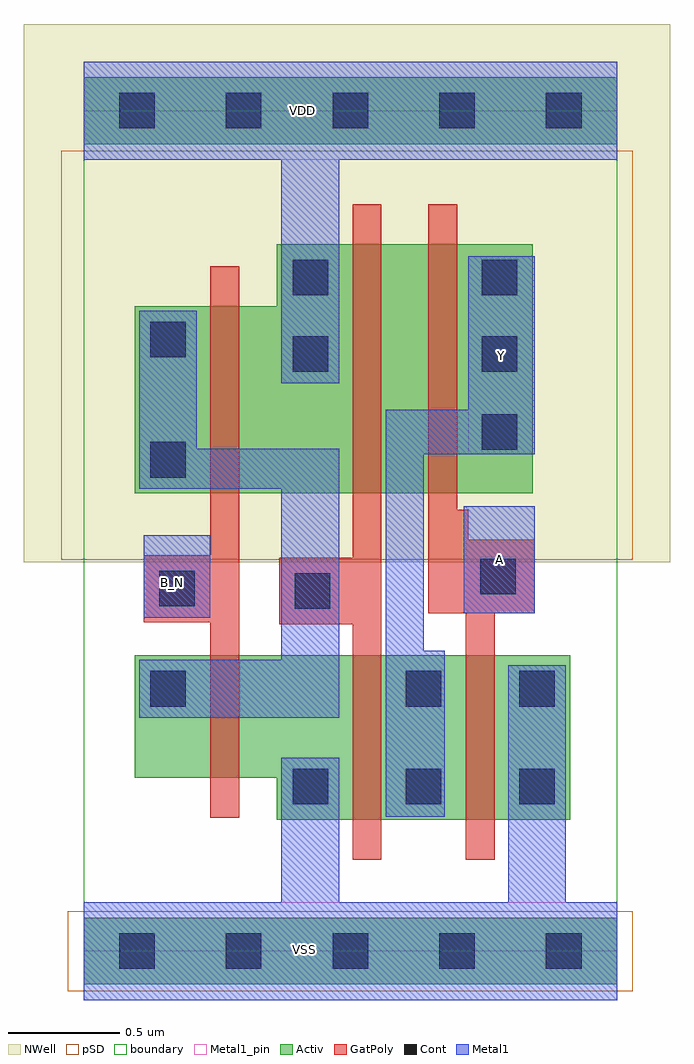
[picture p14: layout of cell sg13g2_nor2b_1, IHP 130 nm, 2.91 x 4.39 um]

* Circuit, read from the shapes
.subckt sg13g2_nor2b_1 A B_N VDD VSS Y
XM1 VSS B_N n1 VSS sg13_lv_nmos w=0.55u l=0.13u
XM2 Y n1 VSS VSS sg13_lv_nmos w=0.74u l=0.13u
XM3 VSS A Y VSS sg13_lv_nmos w=0.74u l=0.13u
XM4 VDD B_N n1 VDD sg13_lv_pmos w=0.84u l=0.13u
XM5 n2 n1 VDD VDD sg13_lv_pmos w=1.12u l=0.13u
XM6 Y A n2 VDD sg13_lv_pmos w=1.12u l=0.13u
.ends

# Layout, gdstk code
import gdstk
lib = gdstk.Library(unit=1e-6, precision=1e-09)
def R(c, l, rs):  # rectangles x0, y0, x1, y1
    for r in rs: c.add(gdstk.rectangle(r[:2], r[2:], *l))
def A(c, l, x, y, w, h, nx, ny, dx, dy):  # array of equal rectangles
    R(c, l, [(x+i*dx, y+j*dy, x+i*dx+w, y+j*dy+h) for i in range(nx) for j in range(ny)])
def P(c, l, *ps):  # polygons
    for p in ps: c.add(gdstk.Polygon(p, *l))
Activ = (1, 0)
GatPoly = (5, 0)
Cont = (6, 0)
Metal1 = (8, 0)
Metal1_pin = (8, 2)
pSD = (14, 0)
NWell = (31, 0)
boundary = (189, 4)

sg13g2_nor2b_1 = lib.new_cell('sg13g2_nor2b_1')
R(sg13g2_nor2b_1, Activ, [(0,-0.15,2.4,0.15), (0,3.63,2.4,3.93)])
P(sg13g2_nor2b_1, Activ, [(2.19,1.33),(0.23,1.33),(0.23,0.78),(0.87,0.78),(0.87,0.59),(2.19,0.59)],
  [(2.02,3.18),(0.87,3.18),(0.87,2.9),(0.23,2.9),(0.23,2.06),(2.02,2.06)])
P(sg13g2_nor2b_1, GatPoly, [(0.7,3.08),(0.57,3.08),(0.57,1.78),(0.27,1.78),(0.27,1.48),(0.57,1.48),(0.57,0.6),(0.7,0.6)],
  [(1.34,3.36),(1.21,3.36),(1.21,1.77),(0.88,1.77),(0.88,1.47),(1.21,1.47),(1.21,0.41),(1.34,0.41)],
  [(2.03,1.85),(1.73,1.85),(1.73,1.985),(1.68,1.985),(1.68,3.36),(1.55,3.36),(1.55,1.52),(1.72,1.52),(1.72,0.41),(1.85,0.41),(1.85,1.52),(2.03,1.52)])
A(sg13g2_nor2b_1, Cont, 0.16, -0.08, 0.16, 0.16, 5, 2, 0.48, 3.78)
A(sg13g2_nor2b_1, Cont, 0.94, 0.66, 0.16, 0.16, 3, 1, 0.51, 0)
R(sg13g2_nor2b_1, Cont, [(0.3,1.1,0.46,1.26), (1.45,1.1,1.61,1.26), (1.96,1.1,2.12,1.26), (0.95,1.54,1.11,1.7), (0.34,1.55,0.5,1.71), (1.785,1.605,1.945,1.765), (0.3,2.13,0.46,2.29), (1.79,2.255,1.95,2.415), (0.94,2.605,1.1,2.765), (1.79,2.605,1.95,2.765), (0.3,2.67,0.46,2.83), (0.94,2.95,1.1,3.11), (1.79,2.95,1.95,3.11)])
R(sg13g2_nor2b_1, Metal1, [(0.27,1.5,0.57,1.87), (1.71,1.52,2.03,2)])
P(sg13g2_nor2b_1, Metal1, [(2.03,3.125),(1.73,3.125),(1.73,2.435),(1.36,2.435),(1.36,0.605),(1.625,0.605),(1.625,1.35),(1.53,1.35),(1.53,2.235),(2.03,2.235)],
  [(1.15,2.26),(0.51,2.26),(0.51,2.88),(0.25,2.88),(0.25,2.08),(0.89,2.08),(0.89,1.31),(0.25,1.31),(0.25,1.05),(1.15,1.05)],
  [(2.4,0.22),(2.17,0.22),(2.17,1.285),(1.91,1.285),(1.91,0.22),(1.15,0.22),(1.15,0.87),(0.89,0.87),(0.89,0.22),(0,0.22),(0,-0.22),(2.4,-0.22)],
  [(2.4,4),(0,4),(0,3.56),(0.89,3.56),(0.89,2.555),(1.15,2.555),(1.15,3.56),(2.4,3.56)])
R(sg13g2_nor2b_1, Metal1_pin, [(0,-0.22,2.4,0.22), (0.27,1.5,0.57,1.87), (1.71,1.52,2.03,2), (1.73,2.235,2.03,3.125), (0,3.56,2.4,4)])
R(sg13g2_nor2b_1, pSD, [(-0.07,-0.18,2.47,0.18), (-0.1,1.76,2.47,3.6)])
R(sg13g2_nor2b_1, NWell, [(-0.27,1.75,2.64,4.17)])
R(sg13g2_nor2b_1, boundary, [(0,0,2.4,3.78)])
sg13g2_nor2b_1.add(gdstk.Label('A', (1.87,1.76), layer=8, texttype=25))
sg13g2_nor2b_1.add(gdstk.Label('B_N', (0.4,1.66), layer=8, texttype=25))
sg13g2_nor2b_1.add(gdstk.Label('VDD', (0.985,3.78), layer=8, texttype=25))
sg13g2_nor2b_1.add(gdstk.Label('Y', (1.88,2.68), layer=8, texttype=25))
sg13g2_nor2b_1.add(gdstk.Label('VSS', (0.995,0.005), layer=8, texttype=25))

lib.write_gds('sg13g2_nor2b_1.gds')
